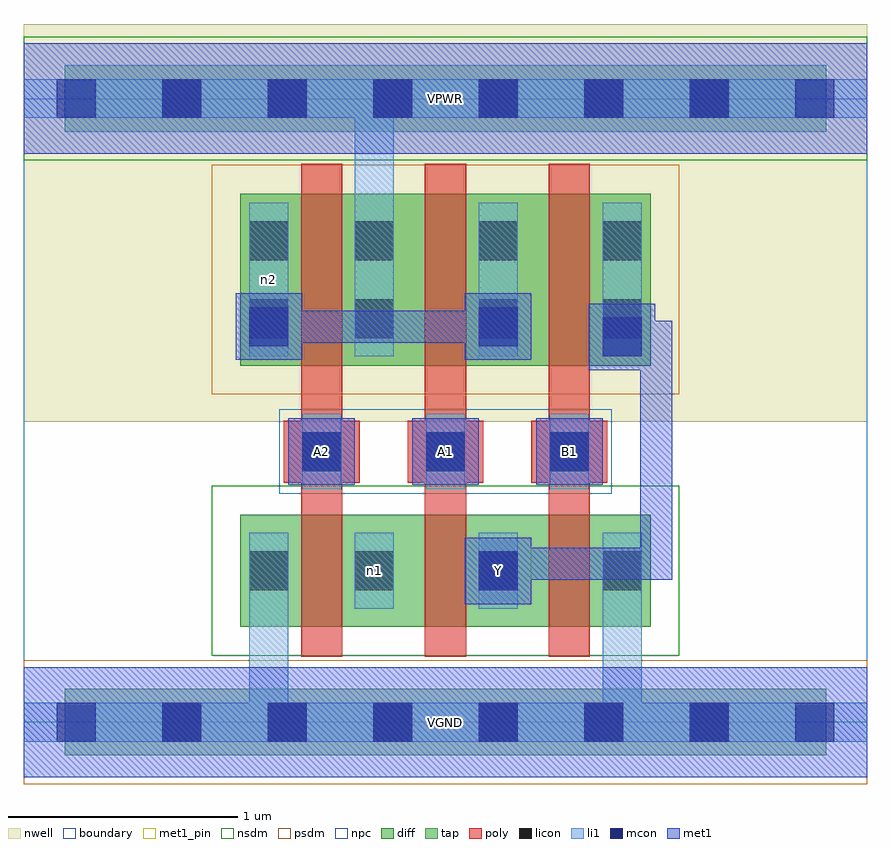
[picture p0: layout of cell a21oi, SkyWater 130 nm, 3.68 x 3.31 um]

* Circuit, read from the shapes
.subckt a21oi A1 A2 B1 VGND VPWR Y n1 n2
XM1 n1 A2 VGND VGND sky130_fd_pr__nfet_01v8 w=0.49 l=0.18
XM2 Y A1 n1 VGND sky130_fd_pr__nfet_01v8 w=0.49 l=0.18
XM3 VGND B1 Y VGND sky130_fd_pr__nfet_01v8 w=0.49 l=0.18
XM4 VPWR A2 n2 VPWR sky130_fd_pr__pfet_01v8 w=0.75 l=0.18
XM5 n2 A1 VPWR VPWR sky130_fd_pr__pfet_01v8 w=0.75 l=0.18
XM6 Y B1 n2 VPWR sky130_fd_pr__pfet_01v8 w=0.75 l=0.18
.ends

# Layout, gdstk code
import gdstk
lib = gdstk.Library(unit=1e-6, precision=1e-09)
def R(c, l, rs):  # rectangles x0, y0, x1, y1
    for r in rs: c.add(gdstk.rectangle(r[:2], r[2:], *l))
def A(c, l, x, y, w, h, nx, ny, dx, dy):  # array of equal rectangles
    R(c, l, [(x+i*dx, y+j*dy, x+i*dx+w, y+j*dy+h) for i in range(nx) for j in range(ny)])
nwell = (64, 20)
diff = (65, 20)
tap = (65, 44)
poly = (66, 20)
licon = (66, 44)
li1 = (67, 20)
mcon = (67, 44)
met1_pin = (68, 16)
met1 = (68, 20)
nsdm = (93, 44)
psdm = (94, 20)
npc = (95, 20)
boundary = (235, 4)

a21oi = lib.new_cell('a21oi')
R(a21oi, nwell, [(0,1.31,3.68,3.045)])
R(a21oi, diff, [(0.945,0.415,2.735,0.905), (0.945,1.555,2.735,2.305)])
R(a21oi, tap, [(0.18,-0.145,3.5,0.145), (0.18,2.575,3.5,2.865)])
A(a21oi, poly, 1.21, 0.285, 0.18, 2.15, 3, 1, 0.54, 0)
A(a21oi, poly, 1.135, 1.045, 0.33, 0.27, 3, 1, 0.54, 0)
A(a21oi, licon, 0.605, -0.085, 0.17, 0.17, 6, 2, 0.46, 2.72)
A(a21oi, licon, 1.445, 0.575, 0.17, 0.17, 3, 2, 0.54, 1.1)
A(a21oi, licon, 1.215, 1.095, 0.17, 0.17, 3, 1, 0.54, 0)
A(a21oi, licon, 1.445, 2.015, 0.17, 0.17, 3, 1, 0.54, 0)
R(a21oi, licon, [(0.985,0.575,1.155,0.745), (0.985,1.675,1.155,1.845), (0.985,2.015,1.155,2.185)])
A(a21oi, li1, 1.445, 0.495, 0.17, 0.33, 3, 1, 0.54, 0)
A(a21oi, li1, 1.215, 1.015, 0.17, 0.33, 3, 1, 0.54, 0)
A(a21oi, li1, 1.445, 1.595, 0.17, 0.67, 3, 1, 0.54, 0)
R(a21oi, li1, [(0,-0.085,3.68,0.085), (0.985,-0.085,1.155,0.825), (2.525,-0.085,2.695,0.825), (0.985,0.495,1.155,0.825), (0.985,1.595,1.155,2.265), (1.445,1.595,1.615,2.805), (0,2.635,3.68,2.805)])
A(a21oi, mcon, 0.145, -0.085, 0.17, 0.17, 8, 2, 0.46, 2.72)
A(a21oi, mcon, 1.215, 1.095, 0.17, 0.17, 3, 1, 0.54, 0)
R(a21oi, mcon, [(1.985,0.575,2.155,0.745), (2.525,1.595,2.695,1.765), (0.985,1.64,1.155,1.81), (1.985,1.64,2.155,1.81)])
A(a21oi, met1_pin, 1.155, 1.035, 0.29, 0.29, 3, 1, 0.54, 0)
R(a21oi, met1_pin, [(0,-0.24,3.68,0.24), (1.925,0.515,2.215,0.805), (0,2.48,3.68,2.96)])
A(a21oi, met1, 1.155, 1.035, 0.29, 0.29, 3, 1, 0.54, 0)
R(a21oi, met1, [(0,-0.24,3.68,0.24), (1.925,0.515,2.215,0.805), (2,0.62,2.14,0.76), (2,0.62,2.83,0.76), (2.69,0.62,2.83,1.565), (2.69,1.425,2.83,1.75), (2.465,1.535,2.755,1.825), (0.925,1.58,1.215,1.87), (1.925,1.58,2.215,1.87), (2.54,1.61,2.83,1.75), (1,1.655,1.335,1.795), (1.195,1.655,2.14,1.795), (0,2.48,3.68,2.96)])
R(a21oi, nsdm, [(0.82,0.29,2.86,1.03), (0,2.45,3.68,2.99)])
R(a21oi, psdm, [(0,-0.27,3.68,0.27), (0.82,1.43,2.86,2.43)])
R(a21oi, npc, [(1.115,0.995,2.565,1.365)])
R(a21oi, boundary, [(0,0,3.68,2.72)])
a21oi.add(gdstk.Label('n1', (1.53,0.66), layer=67, texttype=5))
a21oi.add(gdstk.Label('n2', (1.07,1.93), layer=67, texttype=5))
a21oi.add(gdstk.Label('A1', (1.84,1.18), layer=68, texttype=5))
a21oi.add(gdstk.Label('A2', (1.3,1.18), layer=68, texttype=5))
a21oi.add(gdstk.Label('B1', (2.38,1.18), layer=68, texttype=5))
a21oi.add(gdstk.Label('Y', (2.07,0.66), layer=68, texttype=5))
a21oi.add(gdstk.Label('VPWR', (1.84,2.72), layer=68, texttype=5))
a21oi.add(gdstk.Label('VGND', (1.84,0), layer=68, texttype=5))
a21oi.add(gdstk.Label('A1', (1.84,1.18), layer=68, texttype=16))
a21oi.add(gdstk.Label('A2', (1.3,1.18), layer=68, texttype=16))
a21oi.add(gdstk.Label('B1', (2.38,1.18), layer=68, texttype=16))
a21oi.add(gdstk.Label('Y', (2.07,0.66), layer=68, texttype=16))
a21oi.add(gdstk.Label('VPWR', (1.84,2.72), layer=68, texttype=16))
a21oi.add(gdstk.Label('VGND', (1.84,0), layer=68, texttype=16))

lib.write_gds('a21oi.gds')
